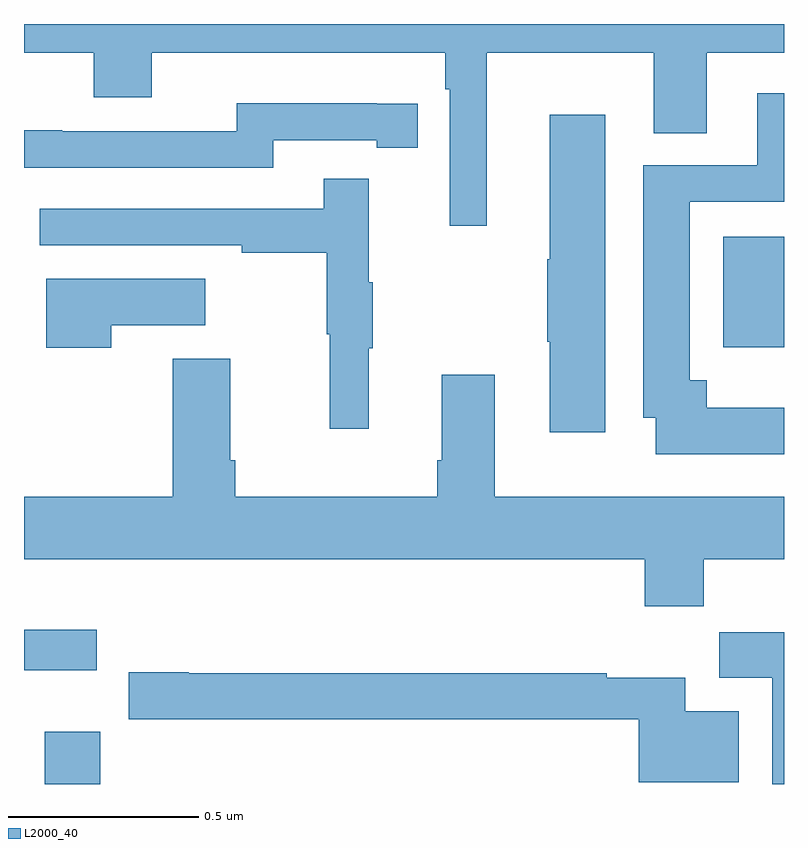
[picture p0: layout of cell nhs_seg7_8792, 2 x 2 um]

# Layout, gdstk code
import gdstk
lib = gdstk.Library(unit=1e-6, precision=1e-09)
def R(c, l, rs):  # rectangles x0, y0, x1, y1
    for r in rs: c.add(gdstk.rectangle(r[:2], r[2:], *l))
def P(c, l, *ps):  # polygons
    for p in ps: c.add(gdstk.Polygon(p, *l))
L2000_40 = (2000, 40)

nhs_seg7_8792 = lib.new_cell('nhs_seg7_8792')
R(nhs_seg7_8792, L2000_40, [(229.055,1024,229.201,1024.137), (229,1024.3,229.191,1024.406), (230.84,1025.15,231,1025.44)])
P(nhs_seg7_8792, L2000_40, [(230.218,1025.924),(230.657,1025.924),(230.657,1025.713),(230.797,1025.713),(230.797,1025.924),(231,1025.924),(231,1026),(229,1026),(229,1025.924),(229.184,1025.924),(229.184,1025.807),(229.336,1025.807),(229.336,1025.924),(230.108,1025.924),(230.108,1025.828),(230.121,1025.828),(230.121,1025.469),(230.218,1025.469)],
  [(231,1024.99),(230.797,1024.99),(230.797,1025.062),(230.752,1025.062),(230.752,1025.532),(231,1025.532),(231,1025.818),(230.93,1025.818),(230.93,1025.628),(230.63,1025.628),(230.63,1024.964),(230.663,1024.964),(230.663,1024.868),(231,1024.868)],
  [(229.656,1025.694),(229.928,1025.694),(229.928,1025.674),(230.036,1025.674),(230.036,1025.79),(229.928,1025.79),(229.928,1025.791),(229.56,1025.791),(229.56,1025.718),(229.1,1025.718),(229.1,1025.72),(229,1025.72),(229,1025.622),(229.656,1025.622)],
  [(230.53,1025.761),(230.384,1025.761),(230.384,1025.381),(230.377,1025.381),(230.377,1025.164),(230.384,1025.164),(230.384,1024.926),(230.53,1024.926)],
  [(229.907,1025.147),(229.918,1025.147),(229.918,1025.321),(229.907,1025.321),(229.907,1025.593),(229.789,1025.593),(229.789,1025.514),(229.041,1025.514),(229.041,1025.418),(229.573,1025.418),(229.573,1025.398),(229.797,1025.398),(229.797,1025.184),(229.804,1025.184),(229.804,1024.935),(229.907,1024.935)],
  [(229.229,1025.207),(229.477,1025.207),(229.477,1025.329),(229.058,1025.329),(229.058,1025.148),(229.229,1025.148)],
  [(230.789,1024.592),(231,1024.592),(231,1024.756),(230.239,1024.756),(230.239,1025.077),(230.099,1025.077),(230.099,1024.852),(230.087,1024.852),(230.087,1024.756),(229.556,1024.756),(229.556,1024.852),(229.543,1024.852),(229.543,1025.119),(229.391,1025.119),(229.391,1024.756),(229,1024.756),(229,1024.592),(230.633,1024.592),(230.633,1024.468),(230.789,1024.468)],
  [(231,1024.399),(230.83,1024.399),(230.83,1024.28),(230.969,1024.28),(230.969,1024),(231,1024)],
  [(230.881,1024.192),(230.74,1024.192),(230.74,1024.28),(230.534,1024.28),(230.534,1024.291),(229.434,1024.291),(229.434,1024.294),(229.276,1024.294),(229.276,1024.17),(230.618,1024.17),(230.618,1024.004),(230.881,1024.004)])

lib.write_gds('nhs_seg7_8792.gds')
